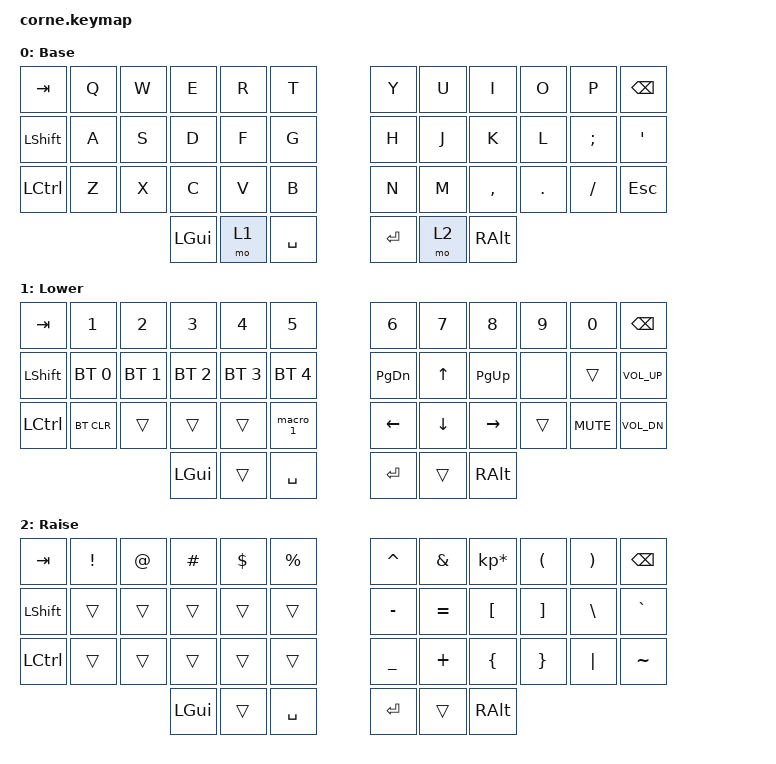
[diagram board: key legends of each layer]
/*
 * Copyright (c) 2020 The ZMK Contributors
 *
 * SPDX-License-Identifier: MIT
 */

#include <behaviors.dtsi>
#include <dt-bindings/zmk/bt.h>
#include <dt-bindings/zmk/keys.h>

/ {
    macros {
        macro_1: macro_1 {
            compatible = "zmk,behavior-macro";
            #binding-cells = <0>;
            bindings = <&kp LS(N) &kp C &kp S &kp M &kp N &kp C &kp I &kp D &kp C &kp A &kp EXCL>;
            label = "MACRO_1";
        };
    };

    keymap {
        compatible = "zmk,keymap";

        default_layer {
            // -----------------------------------------------------------------------------------------
            // |  TAB |  Q  |  W  |  E  |  R  |  T  |   |  Y  |  U   |  I  |  O  |  P  | BKSP |
            // | CTRL |  A  |  S  |  D  |  F  |  G  |   |  H  |  J   |  K  |  L  |  ;  |  '   |
            // | SHFT |  Z  |  X  |  C  |  V  |  B  |   |  N  |  M   |  ,  |  .  |  /  | ESC  |
            //                    | GUI | LWR | SPC |   | ENT | RSE  | ALT |

            display-name = "Base";
            bindings = <
&kp TAB         &kp Q  &kp W  &kp E     &kp R  &kp T        &kp Y    &kp U  &kp I      &kp O    &kp P     &kp BSPC
&kp LEFT_SHIFT  &kp A  &kp S  &kp D     &kp F  &kp G        &kp H    &kp J  &kp K      &kp L    &kp SEMI  &kp SQT
&kp LCTRL       &kp Z  &kp X  &kp C     &kp V  &kp B        &kp N    &kp M  &kp COMMA  &kp DOT  &kp FSLH  &kp ESC
                              &kp LGUI  &mo 1  &kp SPACE    &kp RET  &mo 2  &kp RALT
            >;
        };

        lower_layer {
            // -----------------------------------------------------------------------------------------
            // |  TAB |  1  |  2  |  3  |  4  |  5  |   |  6  |  7  |  8  |  9  |  0  | BKSP |
            // | BTCLR| BT1 | BT2 | BT3 | BT4 | BT5 |   | LFT | DWN |  UP | RGT |     |      |
            // | SHFT |     |     |     |     |     |   |     |     |     |     |     |      |
            //                    | GUI |     | SPC |   | ENT |     | ALT |

            display-name = "Lower";
            bindings = <
&kp TAB         &kp N1        &kp N2        &kp N3        &kp N4        &kp N5          &kp N6          &kp N7        &kp N8       &kp N9  &kp N0      &kp BSPC
&kp LEFT_SHIFT  &bt BT_SEL 0  &bt BT_SEL 1  &bt BT_SEL 2  &bt BT_SEL 3  &bt BT_SEL 4    &kp PAGE_DOWN   &kp UP_ARROW  &kp PAGE_UP  &none   &trans      &kp C_VOLUME_UP
&kp LCTRL       &bt BT_CLR    &trans        &trans        &trans        &macro_1        &kp LEFT_ARROW  &kp DOWN      &kp RIGHT    &trans  &kp K_MUTE  &kp C_VOL_DN
                                            &kp LGUI      &trans        &kp SPACE       &kp RET         &trans        &kp RALT
            >;
        };

        raise_layer {
            // -----------------------------------------------------------------------------------------
            // |  TAB |  !  |  @  |  #  |  $  |  %  |   |  ^  |  &  |  *  |  (  |  )  | BKSP |
            // | CTRL |     |     |     |     |     |   |  -  |  =  |  [  |  ]  |  \  |  `   |
            // | SHFT |     |     |     |     |     |   |  _  |  +  |  {  |  }  | "|" |  ~   |
            //                    | GUI |     | SPC |   | ENT |     | ALT |

            display-name = "Raise";
            bindings = <
&kp TAB         &kp EXCL  &kp AT  &kp HASH  &kp DLLR  &kp PRCNT    &kp CARET  &kp AMPS   &kp KP_MULTIPLY  &kp LPAR  &kp RPAR  &kp BSPC
&kp LEFT_SHIFT  &trans    &trans  &trans    &trans    &trans       &kp MINUS  &kp EQUAL  &kp LBKT         &kp RBKT  &kp BSLH  &kp GRAVE
&kp LCTRL       &trans    &trans  &trans    &trans    &trans       &kp UNDER  &kp PLUS   &kp LBRC         &kp RBRC  &kp PIPE  &kp TILDE
                                  &kp LGUI  &trans    &kp SPACE    &kp RET    &trans     &kp RALT
            >;
        };
    };
};
